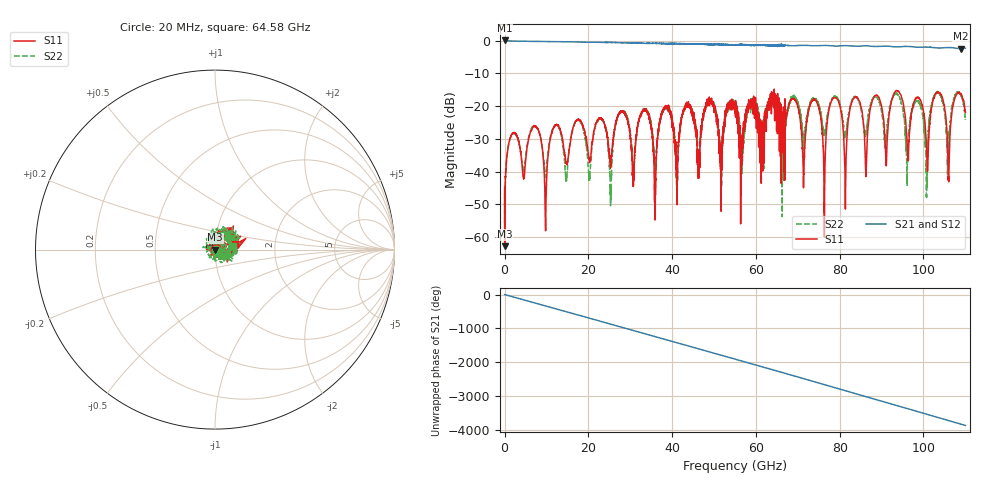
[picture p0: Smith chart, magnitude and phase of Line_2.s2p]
#  HZ  S  RI  R  50.00
! Rohde & Schwarz ZVA67 4Ports - Version 4.11 - 1305.7002k04 SN: 101032
! Date: 2026-02-18 15:12:56
! Measurements: S11 S21 S12 S22
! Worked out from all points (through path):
!   5500 points, 20 MHz to 110 GHz, reference 50 ohm
!   highest |S21| = 0.08 dB at 20 MHz (marker M1); lowest = -2.4 dB at 108.8 GHz (marker M2)
!   group delay of S21, straight-line fit = 97.4 ps
!   lowest |S11| = -62.7 dB at 40 MHz (marker M3), VSWR 1.00, Z = 50.1 - j0.0413 ohm
!   |S11| at or under -10 dB: start of sweep to end of sweep
!   |S22| runs from -56.0 to -15.5 dB; largest |S21 - S12| = 0.062
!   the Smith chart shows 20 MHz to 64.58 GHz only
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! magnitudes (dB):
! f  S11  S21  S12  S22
! 20 MHz  -45.0  0.1  -0.1  -46.6
! 40 MHz  -62.7  0.0  0.0  -56.0
! 2 GHz  -28.2  -0.1  -0.1  -28.3
! 7.78 GHz  -26.7  -0.2  -0.2  -26.7
! 9.8 GHz  -58.0  -0.2  -0.3  -41.1
! 18.36 GHz  -24.9  -0.4  -0.4  -25.2
! 36.68 GHz  -27.4  -0.8  -0.8  -27.5
! 55.02 GHz  -20.6  -1.3  -1.2  -21.7
! 69.1 GHz  -17.7  -1.5  -1.6  -17.4
! 71.38 GHz  -41.7  -1.4  -1.4  -35.1
! 73.34 GHz  -18.4  -1.5  -1.5  -18.0
! 76.3 GHz  -52.4  -1.4  -1.4  -28.8
! 78.64 GHz  -17.4  -1.6  -1.6  -17.1
! 81.32 GHz  -47.3  -1.5  -1.5  -28.8
! 83.62 GHz  -17.2  -1.7  -1.7  -17.0
! 91.68 GHz  -24.1  -1.7  -1.7  -22.3
! 98.76 GHz  -17.3  -2.0  -2.0  -18.5
! 100.7 GHz  -32.5  -1.9  -1.9  -46.8
! 103.6 GHz  -15.8  -2.2  -2.2  -15.9
! 106 GHz  -42.0  -2.1  -2.1  -32.6
! 108.8 GHz  -16.4  -2.4  -2.4  -16.3
! 110 GHz  -21.8  -2.3  -2.3  -24.0
